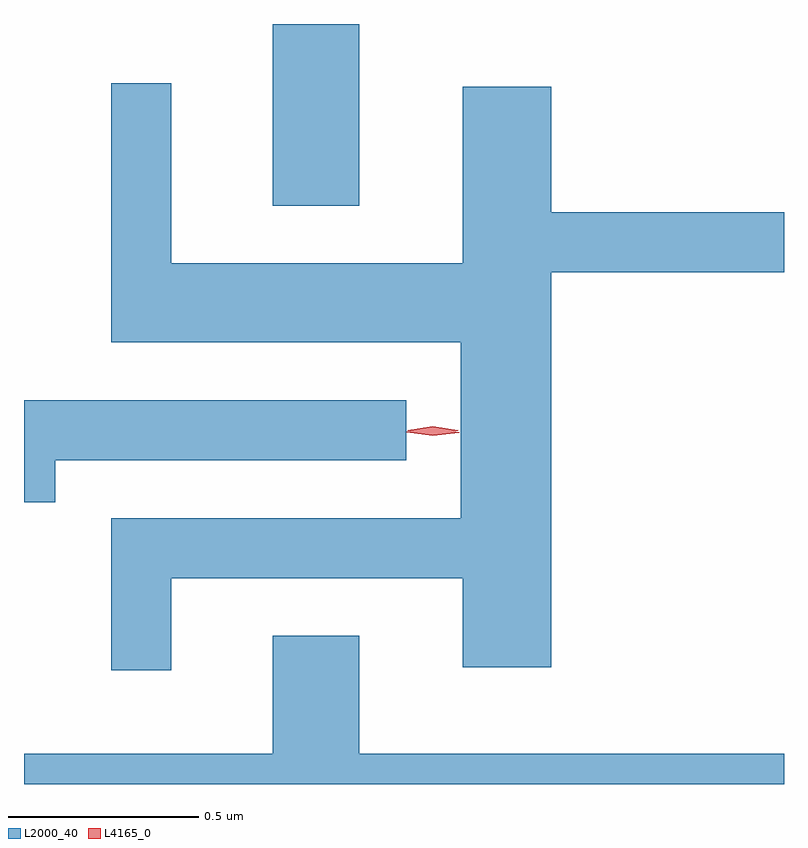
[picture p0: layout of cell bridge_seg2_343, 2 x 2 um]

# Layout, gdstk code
import gdstk
lib = gdstk.Library(unit=1e-6, precision=1e-09)
def R(c, l, rs):  # rectangles x0, y0, x1, y1
    for r in rs: c.add(gdstk.rectangle(r[:2], r[2:], *l))
def P(c, l, *ps):  # polygons
    for p in ps: c.add(gdstk.Polygon(p, *l))
L2000_40 = (2000, 40)
L4165_0 = (4165, 0)

bridge_seg2_343 = lib.new_cell('bridge_seg2_343')
R(bridge_seg2_343, L2000_40, [(400.501,1007.846,400.729,1008.324)])
P(bridge_seg2_343, L2000_40, [(400.234,1006.866),(401.001,1006.866),(401.001,1006.631),(401.234,1006.631),(401.234,1007.671),(401.847,1007.671),(401.847,1007.829),(401.234,1007.829),(401.234,1008.159),(401.001,1008.159),(401.001,1007.694),(400.234,1007.694),(400.234,1008.168),(400.076,1008.168),(400.076,1007.486),(400.996,1007.486),(400.996,1007.024),(400.076,1007.024),(400.076,1006.623),(400.234,1006.623)],
  [(399.929,1007.176),(400.853,1007.176),(400.853,1007.334),(399.847,1007.334),(399.847,1007.066),(399.929,1007.066)],
  [(401.847,1006.404),(400.729,1006.404),(400.729,1006.714),(400.501,1006.714),(400.501,1006.404),(399.847,1006.404),(399.847,1006.324),(401.847,1006.324)])
P(bridge_seg2_343, L4165_0, [(400.923,1007.24),(400.854,1007.25),(400.853,1007.25),(400.854,1007.251),(400.923,1007.26),(400.992,1007.25),(400.993,1007.25),(400.992,1007.249)],
  [(400.923,1007.245),(400.857,1007.254),(400.857,1007.255),(400.857,1007.255),(400.923,1007.265),(400.989,1007.255),(400.99,1007.255),(400.989,1007.254)])

lib.write_gds('bridge_seg2_343.gds')
